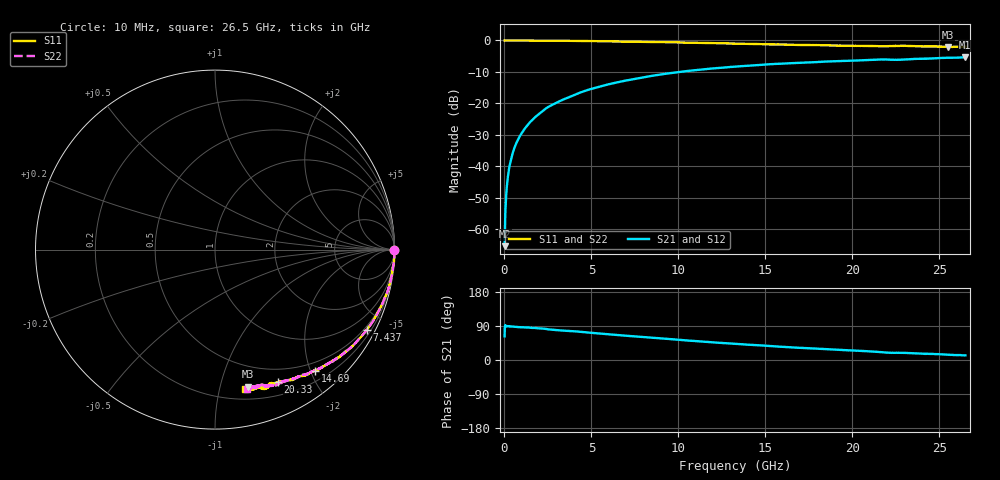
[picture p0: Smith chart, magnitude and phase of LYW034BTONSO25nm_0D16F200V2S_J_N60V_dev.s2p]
!Keysight Technologies,N5222B,MY61253708,A.15.00.15
!Date: Wednesday, June 19, 2024 09:13:18
!Correction: S11(C  2-Port  )
!S21(C  2-Port  )
!S12(C  2-Port  )
!S22(C  2-Port  )
!S2P File: Measurements: S11, S21, S12, S22:
# Hz S  RI  R 50
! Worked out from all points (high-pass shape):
!   2651 points, 10 MHz to 26.5 GHz, reference 50 ohm
!   highest |S21| = -5.34 dB at 26.49 GHz (marker M1); lowest = -65.4 dB at 10 MHz (marker M2)
!   |S21| within 3 dB of the highest: 13.21 GHz to end of sweep
!   lowest |S11| = -2.1 dB at 25.5 GHz (marker M3), VSWR 8.34, Z = 15.4 - j61.3 ohm
!   |S11| at or under -10 dB: nowhere
!   |S22| runs from -2.0 to 0.0 dB; largest |S21 - S12| = 0.0068
!   S11 on the Smith chart (normalised r, x): 10 MHz: open; 7.437 GHz: 0.38, -3.99; 14.69 GHz: 0.36, -2.07; 20.33 GHz: 0.34, -1.53; 26.5 GHz: 0.28, -1.20
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1e7  0.9988 -0.00228  0.000251 0.000476  3.97e-05 0.000224  0.9984 -0.000865
7.997358e7  0.9999 -0.00585  2.86e-05 0.00275  3.62e-05 0.00277  0.9993 -0.00542
1.499472e8  0.9999 -0.0113  4.83e-05 0.00514  4.9e-05 0.00518  0.9994 -0.0106
1.899321e8  1 -0.0132  8.85e-05 0.0065  0.000122 0.00658  0.9997 -0.0125
2.499094e8  0.9994 -0.0178  0.000155 0.00858  0.000147 0.00863  0.9992 -0.017
3.498717e8  0.9995 -0.0247  0.000294 0.012  0.000295 0.0121  0.9993 -0.0238
4.698264e8  0.9988 -0.0331  0.000507 0.0161  0.000538 0.0162  0.9984 -0.0321
8.096981e8  0.9978 -0.0559  0.00153 0.0275  0.00156 0.0278  0.9973 -0.0549
1.43946e9  0.9898 -0.0998  0.00375 0.0491  0.00382 0.0493  0.9924 -0.0966
2.329125e9  0.9803 -0.1557  0.0108 0.0802  0.011 0.0807  0.9816 -0.1565
3.148815e9  0.9684 -0.2092  0.022 0.1052  0.0222 0.106  0.9695 -0.2087
4.428332e9  0.9386 -0.2871  0.0412 0.1455  0.0416 0.1465  0.94 -0.2847
7.437196e9  0.8451 -0.4473  0.1124 0.2163  0.1139 0.2171  0.8461 -0.4463
8.846664e9  0.7921 -0.5093  0.1524 0.2399  0.154 0.2407  0.7928 -0.5084
1.3255e10  0.6119 -0.6459  0.2821 0.2603  0.2844 0.2601  0.6145 -0.6449
1.469446e10  0.5573 -0.6742  0.3191 0.2549  0.3214 0.2542  0.5586 -0.6709
1.767333e10  0.4376 -0.7205  0.3874 0.2285  0.391 0.2269  0.4472 -0.7182
2.033233e10  0.3498 -0.7398  0.4391 0.1988  0.4409 0.1954  0.3625 -0.7402
2.209166e10  0.3037 -0.749  0.4678 0.1641  0.4697 0.1611  0.2964 -0.7549
2.550038e10  0.1856 -0.7635  0.515 0.1259  0.5165 0.1259  0.2051 -0.7667
2.649e10  0.1647 -0.778  0.528 0.1154  0.5278 0.1109  0.1786 -0.7757
2.65e10  0.1673 -0.7783  0.5281 0.1151  0.5275 0.1114  0.1791 -0.7767
